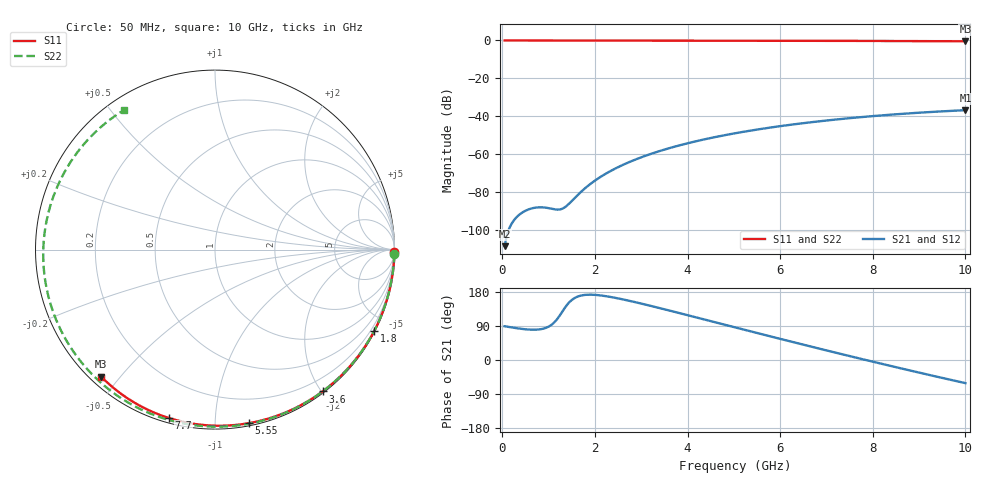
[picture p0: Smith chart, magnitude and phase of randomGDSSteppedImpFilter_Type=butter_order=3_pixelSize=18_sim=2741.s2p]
! freq	dB(S11)	phase(S11)	dB(S12)	phase(S12)
!  dB(S21)	phase(S21)	dB(S22)	phase(S22)
!S-par simulation data
#  GHz  S  DB  R 50
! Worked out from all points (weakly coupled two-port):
!   200 points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, 50 MHz to 10 GHz, reference 50 ohm
!   highest |S21| = -36.86 dB at 10 GHz (marker M1); lowest = -108.8 dB at 50 MHz (marker M2)
!   lowest |S11| = -0.4 dB at 10 GHz (marker M3), VSWR 39.18, Z = 1.53 - j22.3 ohm
!   |S11| at or under -10 dB: nowhere
!   |S22| runs from -0.6 to 0.0 dB; largest |S21 - S12| = 0
!   S11 on the Smith chart (normalised r, x): 50 MHz: open; 1.8 GHz: 0.04, -4.16; 3.6 GHz: 0.02, -2.01; 5.55 GHz: 0.02, -1.21; 7.7 GHz: 0.02, -0.76; 10 GHz: 0.03, -0.45
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0.05  -0.00 -0.8  -108.76 89.0  -108.76 89.0  -0.00 -1.4
0.45  -0.01 -6.8  -90.69 81.7  -90.69 81.7  -0.02 -12.1
0.85  -0.02 -12.9  -88.21 81.7  -88.21 81.7  -0.03 -22.7
1.7  -0.03 -25.5  -80.03 170.1  -80.03 170.1  -0.06 -44.8
1.75  -0.03 -26.3  -78.93 171.2  -78.93 171.2  -0.06 -46.0
1.8  -0.03 -27.0  -77.87 171.9  -77.87 171.9  -0.06 -47.3
2.1  -0.04 -31.4  -72.46 170.7  -72.46 170.7  -0.07 -54.9
2.45  -0.05 -36.5  -67.59 163.8  -67.59 163.8  -0.08 -63.5
2.9  -0.06 -43.0  -62.71 151.8  -62.71 151.8  -0.09 -74.4
3.4  -0.07 -50.0  -58.45 137.0  -58.45 137.0  -0.11 -86.1
3.6  -0.07 -52.8  -56.98 130.8  -56.98 130.8  -0.12 -90.7
4.3  -0.09 -62.4  -52.63 108.9  -52.63 108.9  -0.15 -106.5
5.05  -0.11 -72.4  -48.96 85.4  -48.96 85.4  -0.18 -122.8
5.55  -0.13 -78.9  -46.92 69.7  -46.92 69.7  -0.21 -133.4
6.15  -0.15 -86.5  -44.81 51.2  -44.81 51.2  -0.25 -146.2
6.7  -0.18 -93.3  -43.14 34.4  -43.14 34.4  -0.29 -157.8
7.2  -0.21 -99.4  -41.81 19.3  -41.81 19.3  -0.34 -168.6
7.7  -0.24 -105.4  -40.63 4.4  -40.63 4.4  -0.38 -179.6
8.35  -0.29 -113.0  -39.31 -14.6  -39.31 -14.6  -0.45 165.6
8.8  -0.32 -118.2  -38.51 -27.6  -38.51 -27.6  -0.50 154.8
9.2  -0.36 -122.7  -37.89 -38.9  -37.89 -38.9  -0.55 144.8
10  -0.44 -131.8  -36.86 -61.0  -36.86 -61.0  -0.65 123.2
